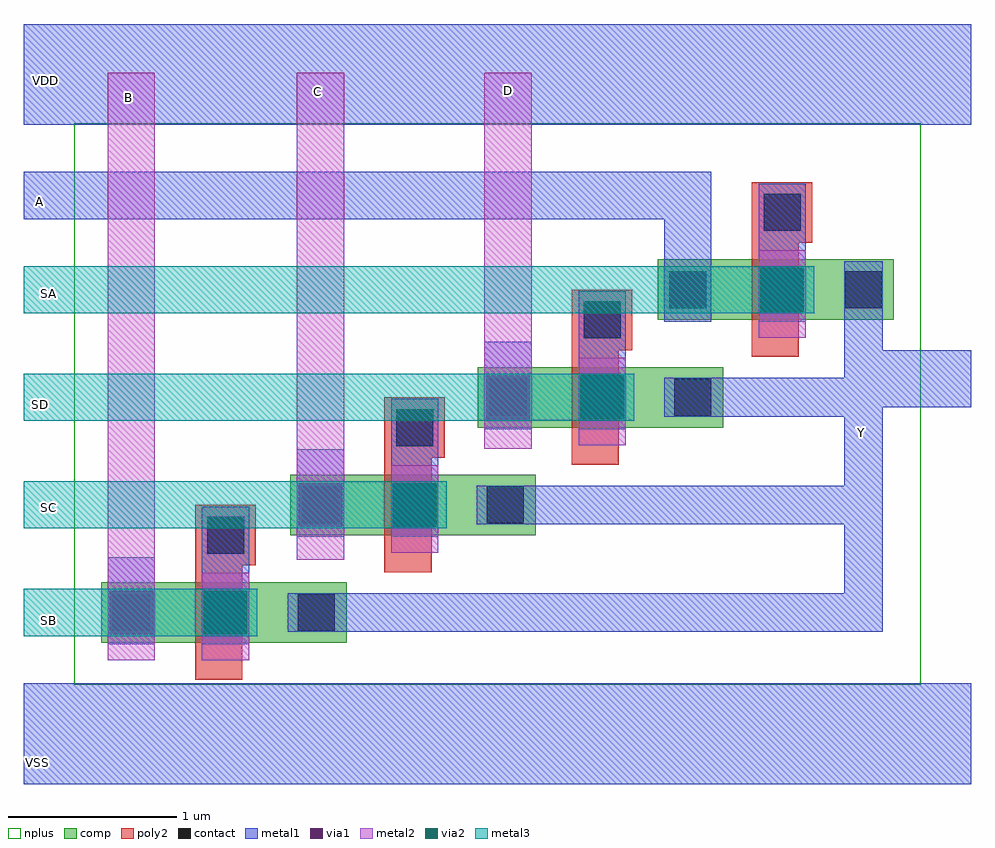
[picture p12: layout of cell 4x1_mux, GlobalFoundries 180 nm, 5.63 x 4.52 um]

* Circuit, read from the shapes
.subckt 4x1_mux A B C D SA SB SC SD VDD VSS Y
XM1 Y SB B VSUBS nfet_03v3 w=0.36u l=0.28u
XM2 Y SC C VSUBS nfet_03v3 w=0.36u l=0.28u
XM3 Y SD D VSUBS nfet_03v3 w=0.36u l=0.28u
XM4 Y SA A VSUBS nfet_03v3 w=0.36u l=0.28u
.ends

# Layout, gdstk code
import gdstk
lib = gdstk.Library(unit=1e-6, precision=5e-09)
def R(c, l, rs):  # rectangles x0, y0, x1, y1
    for r in rs: c.add(gdstk.rectangle(r[:2], r[2:], *l))
comp = (22, 0)
poly2 = (30, 0)
nplus = (32, 0)
contact = (33, 0)
metal1 = (34, 0)
via1 = (35, 0)
metal2 = (36, 0)
via2 = (38, 0)
metal3 = (42, 0)

c_4x1_mux = lib.new_cell('4x1_mux')
R(c_4x1_mux, comp, [(6.93,13.46,8.39,13.82), (8.055,14.1,9.515,14.46), (9.17,14.74,10.63,15.1), (10.24,15.38,11.645,15.74)])
R(c_4x1_mux, poly2, [(7.49,13.24,7.77,13.92), (8.615,13.88,8.895,14.56), (7.49,13.92,7.85,14.28), (9.73,14.52,10.01,15.2), (8.615,14.56,8.975,14.92), (10.8,15.16,11.08,15.84), (9.73,15.2,10.09,15.56), (10.8,15.84,11.16,16.2)])
R(c_4x1_mux, nplus, [(6.77,13.21,11.805,16.55)])
R(c_4x1_mux, contact, [(7,13.53,7.22,13.75), (8.1,13.53,8.32,13.75), (7.56,13.99,7.78,14.21), (8.125,14.17,8.345,14.39), (9.225,14.17,9.445,14.39), (8.685,14.63,8.905,14.85), (9.24,14.81,9.46,15.03), (10.34,14.81,10.56,15.03), (9.8,15.27,10.02,15.49), (10.31,15.45,10.53,15.67), (11.355,15.45,11.575,15.67), (10.87,15.91,11.09,16.13)])
R(c_4x1_mux, metal1, [(6.47,12.62,12.105,13.22), (6.97,13.45,7.25,13.97), (7.53,13.45,7.81,14.27), (8.04,13.525,11.35,13.755), (11.35,13.525,11.58,15.73), (8.095,14.09,8.375,14.61), (8.655,14.09,8.935,14.91), (9.165,14.165,11.35,14.395), (9.21,14.73,9.49,15.25), (9.77,14.73,10.05,15.55), (10.28,14.805,11.35,15.035), (11.58,14.86,12.105,15.2), (10.28,15.37,10.56,16.26), (10.84,15.37,11.12,16.19), (6.47,15.98,10.28,16.26), (6.47,16.54,12.105,17.14)])
R(c_4x1_mux, via1, [(6.98,13.51,7.24,13.77), (7.54,13.51,7.8,13.77), (8.105,14.15,8.365,14.41), (8.665,14.15,8.925,14.41), (9.22,14.79,9.48,15.05), (9.78,14.79,10.04,15.05), (10.85,15.43,11.11,15.69)])
R(c_4x1_mux, metal2, [(6.97,13.355,7.25,16.85), (7.53,13.355,7.81,13.875), (8.095,13.955,8.375,16.85), (8.655,13.995,8.935,14.515), (9.21,14.615,9.49,16.85), (9.77,14.635,10.05,15.155), (10.84,15.275,11.12,15.795)])
R(c_4x1_mux, via2, [(7.54,13.51,7.8,13.77), (8.665,14.15,8.925,14.41), (9.78,14.79,10.04,15.05), (10.85,15.43,11.11,15.69)])
R(c_4x1_mux, metal3, [(6.47,13.5,7.86,13.78), (6.47,14.14,8.985,14.42), (6.47,14.78,10.1,15.06), (6.47,15.42,11.17,15.7)])
c_4x1_mux.add(gdstk.Label('SA', (6.62,15.535), layer=42, texttype=10))
c_4x1_mux.add(gdstk.Label('SD', (6.57,14.88), layer=42, texttype=10))
c_4x1_mux.add(gdstk.Label('SC', (6.62,14.265), layer=42, texttype=10))
c_4x1_mux.add(gdstk.Label('SB', (6.62,13.59), layer=42, texttype=10))
c_4x1_mux.add(gdstk.Label('VDD', (6.6,16.805), layer=34, texttype=10))
c_4x1_mux.add(gdstk.Label('VSS', (6.55,12.745), layer=34, texttype=10))
c_4x1_mux.add(gdstk.Label('A', (6.565,16.085), layer=34, texttype=10))
c_4x1_mux.add(gdstk.Label('Y', (11.455,14.71), layer=34, texttype=10))
c_4x1_mux.add(gdstk.Label('B', (7.095,16.705), layer=36, texttype=10))
c_4x1_mux.add(gdstk.Label('C', (8.215,16.74), layer=36, texttype=10))
c_4x1_mux.add(gdstk.Label('D', (9.355,16.745), layer=36, texttype=10))

lib.write_gds('4x1_mux.gds')
